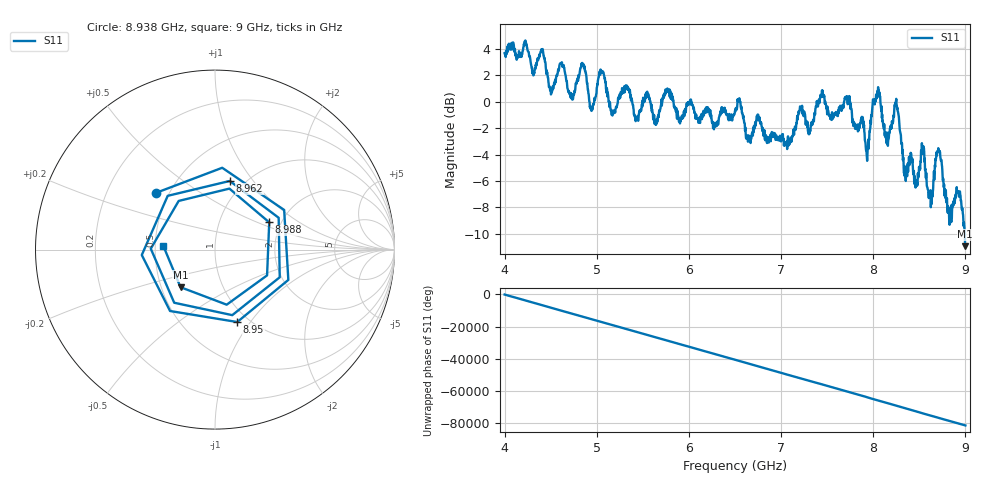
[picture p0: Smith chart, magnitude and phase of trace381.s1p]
! Created with skrf 1.8.0 (http://scikit-rf.org).
# Hz S RI R 50.0
!freq ReS11 ImS11
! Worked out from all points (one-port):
!   1601 points, 4 GHz to 9 GHz, reference 50 ohm
!   lowest |S11| = -10.9 dB at 8.997 GHz (marker M1), VSWR 1.79, Z = 31.4 - j14.3 ohm
!   |S11| at or under -10 dB: 8.993244 GHz to end of sweep
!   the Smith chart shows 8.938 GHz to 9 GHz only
!   S11 on the Smith chart (normalised r, x): 8.938 GHz: 0.43, +0.34; 8.95 GHz: 0.88, -0.87; 8.962 GHz: 0.86, +0.77; 8.988 GHz: 1.74, +0.60; 9 GHz: 0.55, +0.03
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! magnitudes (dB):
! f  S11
! 4 GHz  3.7
! 4.406 GHz  4.0
! 4.506 GHz  0.6
! 4.625 GHz  2.8
! 4.728 GHz  0.4
! 4.856 GHz  2.8
! 4.944 GHz  -0.7
! 5.05 GHz  2.2
! 5.25 GHz  0.6
! 5.875 GHz  -0.7
! 6.5 GHz  -0.7
! 7.125 GHz  -2.6
! 7.75 GHz  -0.1
! 7.931 GHz  -4.2
! 8.044 GHz  0.7
! 8.147 GHz  -2.3
! 8.253 GHz  -0.3
! 8.375 GHz  -4.7
! 8.538 GHz  -3.4
! 8.625 GHz  -8.0
! 8.709 GHz  -3.7
! 8.828 GHz  -9.3
! 8.938 GHz  -6.8
! 8.95 GHz  -7.5
! 8.962 GHz  -8.2
! 8.988 GHz  -9.4
! 8.997 GHz  -10.9
! 9 GHz  -10.8
